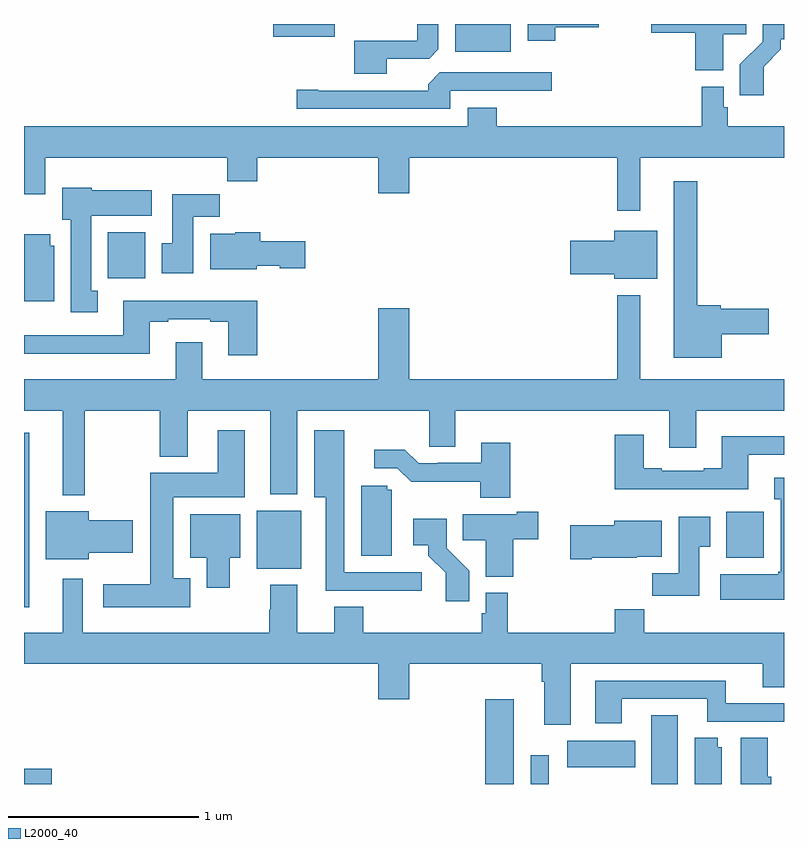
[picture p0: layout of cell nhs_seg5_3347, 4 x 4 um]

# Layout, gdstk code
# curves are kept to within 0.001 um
import gdstk
lib = gdstk.Library(unit=1e-6, precision=1e-09)
def R(c, l, rs):  # rectangles x0, y0, x1, y1
    for r in rs: c.add(gdstk.rectangle(r[:2], r[2:], *l))
def P(c, l, *ps):  # polygons
    for p in ps: c.add(gdstk.Polygon(p, *l))
L2000_40 = (2000, 40)

nhs_seg5_3347 = lib.new_cell('nhs_seg5_3347')
R(nhs_seg5_3347, L2000_40, [(307,850.799,307.147,850.88), (309.428,850.799,309.577,851.245), (309.666,850.799,309.762,850.951), (310.301,850.799,310.441,851.162), (309.858,850.886,310.216,851.026), (307,851.729,307.027,852.649), (308.225,851.933,308.458,852.238), (310.697,851.99,310.894,852.232), (307.442,853.46,307.639,853.702), (309.269,854.654,309.562,854.799), (308.312,854.732,308.635,854.799)])
P(nhs_seg5_3347, L2000_40, [(309.797,854.783),(310.024,854.783),(310.024,854.799),(309.65,854.799),(309.65,854.712),(309.797,854.712)],
  [(310.681,854.746),(310.802,854.746),(310.802,854.799),(310.302,854.799),(310.302,854.752),(310.532,854.752),(310.532,854.555),(310.681,854.555)],
  [(308.908,854.616),(309.132,854.616),(309.181,854.665),(309.181,854.799),(309.069,854.799),(309.069,854.712),(308.738,854.712),(308.738,854.537),(308.908,854.537)],
  [(310.894,854.575),(310.984,854.665),(310.984,854.72),(311,854.72),(311,854.799),(310.887,854.799),(310.887,854.705),(310.768,854.586),(310.768,854.424),(310.894,854.424)],
  [(309.243,854.448),(309.778,854.448),(309.778,854.544),(309.189,854.544),(309.128,854.482),(309.128,854.448),(308.548,854.448),(308.548,854.453),(308.436,854.453),(308.436,854.352),(309.243,854.352)],
  [(310.243,854.096),(311,854.096),(311,854.26),(310.703,854.26),(310.703,854.361),(310.683,854.361),(310.683,854.47),(310.567,854.47),(310.567,854.26),(309.488,854.26),(309.488,854.359),(309.335,854.359),(309.335,854.26),(307,854.26),(307,853.902),(307.111,853.902),(307.111,854.096),(308.071,854.096),(308.071,853.972),(308.228,853.972),(308.228,854.096),(308.864,854.096),(308.864,853.908),(309.028,853.908),(309.028,854.096),(310.122,854.096),(310.122,853.815),(310.243,853.815)],
  [(310.672,853.166),(310.921,853.166),(310.921,853.301),(310.668,853.301),(310.668,853.319),(310.543,853.319),(310.543,853.972),(310.421,853.972),(310.421,853.043),(310.672,853.043)],
  [(307.387,853.394),(307.354,853.394),(307.354,853.79),(307.672,853.79),(307.672,853.924),(307.356,853.924),(307.356,853.936),(307.202,853.936),(307.202,853.77),(307.247,853.77),(307.247,853.281),(307.387,853.281)],
  [(307.891,853.784),(308.03,853.784),(308.03,853.903),(307.781,853.903),(307.781,853.644),(307.724,853.644),(307.724,853.488),(307.891,853.488)],
  [(310.333,853.711),(310.106,853.711),(310.106,853.659),(309.876,853.659),(309.876,853.481),(310.106,853.481),(310.106,853.457),(310.333,853.457)],
  [(308.226,853.526),(308.346,853.526),(308.346,853.514),(308.479,853.514),(308.479,853.656),(308.243,853.656),(308.243,853.702),(308.112,853.702),(308.112,853.696),(307.979,853.696),(307.979,853.508),(308.226,853.508)],
  [(307.159,853.632),(307.138,853.632),(307.138,853.693),(307,853.693),(307,853.34),(307.159,853.34)],
  [(307.861,852.764),(308.297,852.764),(308.297,852.323),(308.437,852.323),(308.437,852.764),(309.132,852.764),(309.132,852.574),(309.271,852.574),(309.271,852.764),(310.397,852.764),(310.397,852.57),(310.537,852.57),(310.537,852.764),(311,852.764),(311,852.928),(310.243,852.928),(310.243,853.372),(310.122,853.372),(310.122,852.928),(309.028,852.928),(309.028,853.303),(308.864,853.303),(308.864,852.928),(307.939,852.928),(307.939,853.123),(307.799,853.123),(307.799,852.928),(307,852.928),(307,852.764),(307.205,852.764),(307.205,852.32),(307.319,852.32),(307.319,852.764),(307.714,852.764),(307.714,852.521),(307.861,852.521)],
  [(308.228,853.342),(307.523,853.342),(307.523,853.161),(307,853.161),(307,853.064),(307.663,853.064),(307.663,853.233),(307.759,853.233),(307.759,853.245),(307.979,853.245),(307.979,853.233),(308.075,853.233),(308.075,853.056),(308.228,853.056)],
  [(307.876,851.881),(307.786,851.881),(307.786,852.308),(308.161,852.308),(308.161,852.661),(308.021,852.661),(308.021,852.436),(307.664,852.436),(307.664,851.851),(307.416,851.851),(307.416,851.729),(307.876,851.729)],
  [(309.094,851.913),(308.685,851.913),(308.685,852.412),(308.686,852.412),(308.686,852.661),(308.528,852.661),(308.528,852.308),(308.588,852.308),(308.588,851.817),(308.869,851.817),(308.869,851.815),(309.094,851.815)],
  [(310.813,852.531),(311,852.531),(311,852.628),(310.673,852.628),(310.673,852.46),(310.577,852.46),(310.577,852.447),(310.357,852.447),(310.357,852.46),(310.261,852.46),(310.261,852.637),(310.109,852.637),(310.109,852.35),(310.813,852.35)],
  [(309.559,852.595),(309.407,852.595),(309.407,852.489),(309.178,852.489),(309.178,852.486),(309.078,852.486),(309.005,852.559),(308.844,852.559),(308.844,852.462),(308.964,852.462),(309.037,852.389),(309.4,852.39),(309.4,852.305),(309.559,852.305)],
  [(311,852.412),(310.949,852.412),(310.949,852.299),(310.982,852.299),(310.982,851.916),(310.969,851.916),(310.969,851.902),(310.665,851.902),(310.665,851.768),(311,851.768)],
  [(308.935,852.348),(308.913,852.348),(308.913,852.369),(308.774,852.369),(308.774,852),(308.935,852)],
  [(307.342,852.017),(307.573,852.017),(307.573,852.188),(307.342,852.188),(307.342,852.235),(307.115,852.235),(307.115,851.981),(307.342,851.981)],
  [(309.576,852.086),(309.706,852.086),(309.706,852.232),(309.593,852.232),(309.593,852.22),(309.31,852.22),(309.31,852.082),(309.431,852.082),(309.431,851.891),(309.576,851.891)],
  [(308.083,851.99),(308.137,851.99),(308.137,852.22),(307.874,852.22),(307.874,851.99),(307.961,851.99),(307.961,851.832),(308.083,851.832)],
  [(310.555,852.049),(310.612,852.049),(310.612,852.205),(310.445,852.205),(310.445,851.908),(310.306,851.908),(310.306,851.79),(310.555,851.79)],
  [(309.344,851.922),(309.225,852.041),(309.225,852.196),(309.048,852.196),(309.048,852.056),(309.128,852.056),(309.128,852.001),(309.219,851.911),(309.219,851.76),(309.344,851.76)],
  [(309.988,851.99),(310.224,851.99),(310.224,851.996),(310.357,851.996),(310.357,852.184),(310.106,852.184),(310.106,852.161),(309.876,852.161),(309.876,851.983),(309.988,851.983)],
  [(309.877,851.432),(310.889,851.432),(310.889,851.308),(311,851.308),(311,851.596),(310.265,851.596),(310.265,851.72),(310.109,851.72),(310.109,851.596),(309.545,851.596),(309.545,851.806),(309.429,851.806),(309.429,851.697),(309.409,851.697),(309.409,851.596),(308.786,851.596),(308.786,851.732),(308.633,851.732),(308.633,851.596),(308.437,851.596),(308.437,851.848),(308.297,851.848),(308.297,851.717),(308.29,851.717),(308.29,851.596),(307.309,851.596),(307.309,851.878),(307.205,851.878),(307.205,851.596),(307,851.596),(307,851.432),(308.864,851.432),(308.864,851.244),(309.028,851.244),(309.028,851.432),(309.725,851.432),(309.725,851.336),(309.737,851.336),(309.737,851.112),(309.877,851.112)],
  [(310.147,851.247),(310.595,851.247),(310.595,851.127),(311,851.127),(311,851.223),(310.694,851.223),(310.694,851.343),(310.007,851.343),(310.007,851.118),(310.147,851.118)],
  [(310.672,850.992),(310.651,850.992),(310.651,851.042),(310.529,851.042),(310.529,850.799),(310.672,850.799)],
  [(310.933,850.836),(310.915,850.836),(310.915,851.042),(310.772,851.042),(310.772,850.799),(310.933,850.799)])

lib.write_gds('nhs_seg5_3347.gds')
